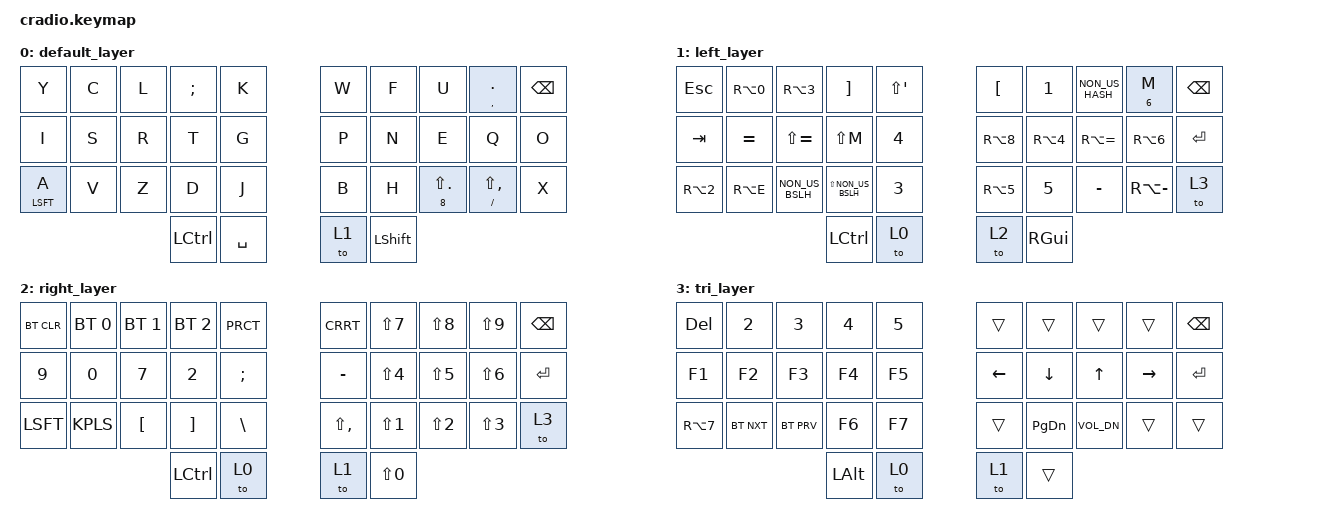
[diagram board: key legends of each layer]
/*
 * Copyright (c) 2020 The ZMK Contributors
 *
 * SPDX-License-Identifier: MIT
 */

#include <behaviors.dtsi>
#include <dt-bindings/zmk/keys.h>
#include <dt-bindings/zmk/bt.h>


&mt {
  flavor = "tap-preferred";
  tapping_term_ms = <200>;
};

/ { 

/*    combos {
        compatible = "zmk,combos";
        combo_esc {
            timeout-ms = <50>;
            key-positions = <0 1>;
            bindings = <&kp ESC>;
        };
        
         combo_tab {
            timeout-ms = <50>;
            key-positions = <10 11>;
            bindings = <&kp TAB>;
        };
        
            combo_ralt {
            timeout-ms = <50>;
            key-positions = <17 16>;
            bindings = <&kp RALT>;
        };
        
                    combo_lalt {
            timeout-ms = <50>;
            key-positions = <11 12>;
            bindings = <&kp LALT>;
        };
        
                           combo_lgui {
            timeout-ms = <50>;
            key-positions = <12 13>;
            bindings = <&kp LGUI>;
        };
        
        
           combo_rgui {
            timeout-ms = <50>;
            key-positions = <17 18>;
            bindings = <&kp RGUI>;
        };
        

        
    };*/

        keymap {
                compatible = "zmk,keymap";
                
       		default_layer {
		bindings = <
		&kp Y &kp C &kp L &kp SEMI &kp K                           &kp W &kp F  &kp U    &mt COMMA PERIOD   &kp BKSP 
		&kp I &kp S &kp R &kp T &kp G 			        	        &kp P &kp N &kp E &kp Q &kp O
		&mt LSFT A &kp V &kp Z &kp D &kp J				        &kp B &kp H  &mt N8 LS(PERIOD) &mt SLASH LS(COMMA) &kp X
          				&kp LCTRL &kp SPC  				&to 1 &kp LSHIFT
		>;
		};
  
       		left_layer {
		bindings = <
		&kp ESC  &kp RA(NUM_0)    &kp RA(NUM_3)    &kp RBKT    &kp LS(SQT)		&kp LBKT &kp NUM_1 &kp NON_US_HASH &mt NUM_6 M &kp BKSP 
		&kp TAB    &kp EQUAL    &kp LS(EQUAL)      &kp LS(M)     &kp NUM_4 		&kp RA(NUM_8) &kp RA(NUM_4) &kp RA(EQUAL) &kp RA(NUM_6)  &kp ENTER 
		&kp RA(NUM_2)    &kp RA(E) 	&kp NON_US_BSLH &kp LS(NON_US_BSLH)  &kp NUM_3 	&kp RA(NUM_5) &kp NUM_5 &kp MINUS &kp RA(MINUS)  &to 3
					    &kp LCTRL   &to 0   				&to 2	&kp RGUI  
		>;
		};
		
		right_layer {
		bindings = <
		&bt BT_CLR  &bt BT_SEL 0 &bt BT_SEL 1  &bt BT_SEL 2  &kp PRCT    			&kp CRRT  &kp LS(NUM_7) &kp LS(NUM_8) &kp LS(NUM_9) &kp BKSP 
		&kp NUM_9  &kp NUM_0  &kp NUM_7  &kp NUM_2  &kp SCLN 			&kp MINUS &kp LS(NUM_4)  &kp LS(NUM_5)  &kp LS(NUM_6)   &kp ENTER 
		&kp LSFT  &kp KPLS &kp LBKT &kp RBKT   &kp BSLH    			&kp LS(COMMA) &kp LS(NUM_1) &kp LS(NUM_2) &kp LS(NUM_3)  &to 3
					  &kp LCTRL   &to 0  				&to 1  &kp LS(NUM_0) 
		>;
		};	
		
		tri_layer {
		bindings = <
		&kp DELETE  &kp NUM_2    &kp NUM_3    &kp NUM_4    &kp NUM_5 			&trans &trans   &trans   &trans  &kp BKSP
		&kp F1 &kp F2 &kp F3 &kp F4 &kp F5  						&kp LEFT &kp DOWN  &kp UP &kp RIGHT &kp ENTER 
		&kp RA(NUM_7)  &bt BT_NXT &bt BT_PRV &kp F6 &kp F7   				&trans &kp PG_DN  &kp K_VOL_DN  &trans &trans   
					 &kp LALT &to 0  					&to 1  &trans 
		>;
		};	
        
	};
};
